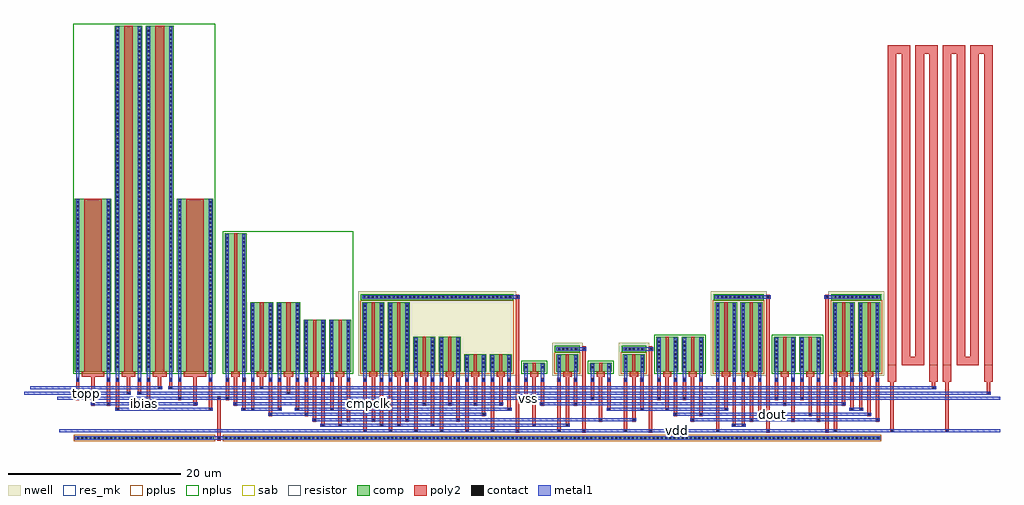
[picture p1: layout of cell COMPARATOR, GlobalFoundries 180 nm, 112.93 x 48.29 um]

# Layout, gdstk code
import gdstk
lib = gdstk.Library(unit=1e-6, precision=1e-09)
def R(c, l, rs):  # rectangles x0, y0, x1, y1
    for r in rs: c.add(gdstk.rectangle(r[:2], r[2:], *l))
def A(c, l, x, y, w, h, nx, ny, dx, dy):  # array of equal rectangles
    R(c, l, [(x+i*dx, y+j*dy, x+i*dx+w, y+j*dy+h) for i in range(nx) for j in range(ny)])
def P(c, l, *ps):  # polygons
    for p in ps: c.add(gdstk.Polygon(p, *l))
nwell = (21, 0)
comp = (22, 0)
poly2 = (30, 0)
pplus = (31, 0)
nplus = (32, 0)
contact = (33, 0)
metal1 = (34, 0)
sab = (49, 0)
resistor = (62, 0)
res_mk = (110, 5)

comparator = lib.new_cell('COMPARATOR')
R(comparator, nwell, [(32.75,-0.5,51.05,9.3), (55.2,-0.5,58.75,3.3), (62.9,-0.5,66.45,3.3), (73.55,-0.5,80.05,9.3), (87.15,-0.5,93.65,9.3)])
A(comparator, comp, 48, 0, 2.55, 2, 3, 1, 7.7, 0)
R(comparator, comp, [(0,-7.9,16.07,-7.5), (17.23,-7.9,93.15,-7.5), (0,0,4.2,20), (4.6,0,7.8,40), (8.2,0,11.4,40), (11.8,0,16,20), (17.3,0,19.85,16), (20.25,0,22.95,8), (23.35,0,26.05,8), (26.45,0,29,6), (29.4,0,31.95,6), (33.25,0,35.8,8), (36.2,0,38.75,8), (39.15,0,41.7,4), (42.1,0,44.65,4), (45.05,0,47.6,2), (51.85,0,54.4,1), (59.55,0,62.1,1), (67.25,0,69.8,4), (70.2,0,72.75,4), (74.05,0,76.6,8), (77,0,79.55,8), (80.85,0,83.4,4), (83.8,0,86.35,4), (87.65,0,90.2,8), (90.6,0,93.15,8), (55.7,2.4,58.25,2.8), (63.4,2.4,65.95,2.8), (33.25,8.4,50.55,8.8), (74.05,8.4,79.55,8.8), (87.65,8.4,93.15,8.8)])
A(comparator, poly2, 33.37, -7.04, 0.4, 5.84, 6, 1, 2.95, 0)
A(comparator, poly2, 64.475, -5.8, 0.4, 4.6, 3, 1, 6.8, 0)
A(comparator, poly2, 40.225, -3.94, 0.4, 2.74, 4, 1, 2.95, 0)
A(comparator, poly2, 51.97, -3.32, 0.4, 2.12, 3, 1, 7.7, 0)
A(comparator, poly2, 34.325, -1.2, 0.4, 0.6, 6, 1, 2.95, 0)
A(comparator, poly2, 52.925, -1.2, 0.4, 0.6, 5, 1, 3.85, 0)
A(comparator, poly2, 34.05, -0.6, 0.95, 0.6, 6, 1, 2.95, 0)
A(comparator, poly2, 52.65, -0.6, 0.95, 0.6, 5, 1, 3.85, 0)
A(comparator, poly2, 49.1, 0, 0.35, 2, 3, 1, 7.7, 0)
R(comparator, poly2, [(16.45,-8,16.85,-2.84), (51,-7.1,51.4,8.9), (58.7,-7.1,59.1,2.9), (66.4,-7.1,66.8,2.9), (80,-7.1,80.4,8.9), (86.8,-7.1,87.2,8.9), (55.82,-7.04,56.22,-1.2), (63.52,-7.04,63.92,-1.2), (74.17,-7.04,74.57,-1.2), (87.77,-7.04,88.17,-1.2), (94.35,-7.04,94.75,-1.2), (100.7,-7.04,101.1,-1.2), (28.48,-6.42,28.88,-1.2), (30.475,-6.42,30.875,-1.2), (35.28,-6.42,35.68,-1.2), (37.275,-6.42,37.675,-1.2), (41.18,-6.42,41.58,-1.2), (52.925,-6.42,53.325,-1.2), (56.775,-6.42,57.175,-1.2), (76.08,-6.42,76.48,-1.2), (77.12,-6.42,77.52,-1.2), (27.525,-5.8,27.925,-1.2), (31.43,-5.8,31.83,-1.2), (34.325,-5.8,34.725,-1.2), (38.23,-5.8,38.63,-1.2), (44.13,-5.8,44.53,-1.2), (60.625,-5.8,61.025,-1.2), (82.88,-5.8,83.28,-1.2), (85.83,-5.8,86.23,-1.2), (92.63,-5.8,93.03,-1.2), (22.43,-5.18,22.83,-1.2), (26.57,-5.18,26.97,-1.2), (47.08,-5.18,47.48,-1.2), (69.28,-5.18,69.68,-1.2), (72.23,-5.18,72.63,-1.2), (79.03,-5.18,79.43,-1.2), (84.875,-5.18,85.275,-1.2), (91.675,-5.18,92.075,-1.2), (4.72,-4.56,5.12,-1.2), (8.32,-4.56,8.72,-1.2), (15.48,-4.56,15.88,-1.2), (19.33,-4.56,19.73,-1.2), (20.37,-4.56,20.77,-1.2), (23.47,-4.56,23.87,-1.2), (25.53,-4.56,25.93,-1.2), (29.52,-4.56,29.92,-1.2), (50.03,-4.56,50.43,-1.2), (61.58,-4.56,61.98,-1.2), (65.43,-4.56,65.83,-1.2), (68.325,-4.56,68.725,-1.2), (75.125,-4.56,75.525,-1.2), (89.68,-4.56,90.08,-1.2), (90.72,-4.56,91.12,-1.2), (1.9,-3.94,2.3,-1.2), (3.68,-3.94,4.08,-1.2), (13.7,-3.94,14.1,-1.2), (18.375,-3.94,18.775,-1.2), (53.88,-3.94,54.28,-1.2), (57.73,-3.94,58.13,-1.2), (81.925,-3.94,82.325,-1.2), (88.725,-3.94,89.125,-1.2), (0.12,-3.32,0.52,-1.2), (11.92,-3.32,12.32,-1.2), (17.42,-3.32,17.82,-1.2), (70.32,-3.32,70.72,-1.2), (80.97,-3.32,81.37,-1.2), (83.92,-3.32,84.32,-1.2), (6,-2.7,6.4,-1.2), (7.28,-2.7,7.68,-1.2), (24.5,-2.7,24.9,-1.2), (105.5,-2.7,105.9,-1.2), (9.6,-2.08,10,-1.2), (10.88,-2.08,11.28,-1.2), (21.4,-2.08,21.8,-1.2), (99.15,-2.08,99.55,-1.2), (0.12,-1.2,0.52,-0.75), (1.9,-1.2,2.3,-0.6), (3.68,-1.2,4.08,-0.75), (4.72,-1.2,5.12,-0.75), (6,-1.2,6.4,-0.6), (7.28,-1.2,7.68,-0.75), (8.32,-1.2,8.72,-0.75), (9.6,-1.2,10,-0.6), (10.88,-1.2,11.28,-0.75), (11.92,-1.2,12.32,-0.75), (13.7,-1.2,14.1,-0.6), (15.48,-1.2,15.88,-0.75), (17.42,-1.2,17.82,-0.75), (18.375,-1.2,18.775,-0.6), (19.33,-1.2,19.73,-0.75), (20.37,-1.2,20.77,-0.75), (21.4,-1.2,21.8,-0.6), (22.43,-1.2,22.83,-0.75), (23.47,-1.2,23.87,-0.75), (24.5,-1.2,24.9,-0.6), (25.53,-1.2,25.93,-0.75), (26.57,-1.2,26.97,-0.75), (27.525,-1.2,27.925,-0.6), (28.48,-1.2,28.88,-0.75), (29.52,-1.2,29.92,-0.75), (30.475,-1.2,30.875,-0.6), (31.43,-1.2,31.83,-0.75), (33.37,-1.2,33.77,-0.75), (35.28,-1.2,35.68,-0.75), (36.32,-1.2,36.72,-0.75), (38.23,-1.2,38.63,-0.75), (39.27,-1.2,39.67,-0.75), (41.18,-1.2,41.58,-0.75), (42.22,-1.2,42.62,-0.75), (44.13,-1.2,44.53,-0.75), (45.17,-1.2,45.57,-0.75), (47.08,-1.2,47.48,-0.75), (48.12,-1.2,48.52,-0.75), (50.03,-1.2,50.43,-0.75), (51.97,-1.2,52.37,-0.75), (53.88,-1.2,54.28,-0.75), (55.82,-1.2,56.22,-0.75), (57.73,-1.2,58.13,-0.75), (59.67,-1.2,60.07,-0.75), (61.58,-1.2,61.98,-0.75), (63.52,-1.2,63.92,-0.75), (65.43,-1.2,65.83,-0.75), (67.37,-1.2,67.77,-0.75), (69.28,-1.2,69.68,-0.75), (70.32,-1.2,70.72,-0.75), (71.275,-1.2,71.675,-0.6), (72.23,-1.2,72.63,-0.75), (74.17,-1.2,74.57,-0.75), (75.125,-1.2,75.525,-0.6), (76.08,-1.2,76.48,-0.75), (77.12,-1.2,77.52,-0.75), (78.075,-1.2,78.475,-0.6), (79.03,-1.2,79.43,-0.75), (80.97,-1.2,81.37,-0.75), (81.925,-1.2,82.325,-0.6), (82.88,-1.2,83.28,-0.75), (83.92,-1.2,84.32,-0.75), (84.875,-1.2,85.275,-0.6), (85.83,-1.2,86.23,-0.75), (87.77,-1.2,88.17,-0.75), (88.725,-1.2,89.125,-0.6), (89.68,-1.2,90.08,-0.75), (90.72,-1.2,91.12,-0.75), (91.675,-1.2,92.075,-0.6), (92.63,-1.2,93.03,-0.75), (94.05,-1.2,95.05,0.7), (98.85,-1.2,99.85,0.7), (100.4,-1.2,101.4,0.7), (105.2,-1.2,106.2,0.7), (0.8,-0.6,3.4,0), (5.4,-0.6,7,0), (9,-0.6,10.6,0), (12.6,-0.6,15.2,0), (18.1,-0.6,19.05,0), (21.05,-0.6,22.15,0), (24.15,-0.6,25.25,0), (27.25,-0.6,28.2,0), (30.2,-0.6,31.15,0), (71,-0.6,71.95,0), (74.85,-0.6,75.8,0), (77.8,-0.6,78.75,0), (81.65,-0.6,82.6,0), (84.6,-0.6,85.55,0), (88.45,-0.6,89.4,0), (91.4,-0.6,92.35,0), (1.1,0,3.1,20), (5.7,0,6.7,40), (9.3,0,10.3,40), (12.9,0,14.9,20), (18.4,0,18.75,16), (21.35,0,21.85,8), (24.45,0,24.95,8), (27.55,0,27.9,6), (30.5,0,30.85,6), (34.35,0,34.7,8), (37.3,0,37.65,8), (40.25,0,40.6,4), (43.2,0,43.55,4), (46.15,0,46.5,2), (52.95,0,53.3,1), (60.65,0,61,1), (68.35,0,68.7,4), (71.3,0,71.65,4), (75.15,0,75.5,8), (78.1,0,78.45,8), (81.95,0,82.3,4), (84.9,0,85.25,4), (88.75,0,89.1,8), (91.7,0,92.05,8)])
P(comparator, poly2, [(94.05,0.7),(94.05,37.75),(96.65,37.75),(96.65,1.7),(97.25,1.7),(97.25,37.75),(99.85,37.75),(99.85,0.7),(98.85,0.7),(98.85,36.75),(98.25,36.75),(98.25,0.7),(95.65,0.7),(95.65,36.75),(95.05,36.75),(95.05,0.7)],
  [(100.4,0.7),(100.4,37.75),(103,37.75),(103,1.7),(103.6,1.7),(103.6,37.75),(106.2,37.75),(106.2,0.7),(105.2,0.7),(105.2,36.75),(104.6,36.75),(104.6,0.7),(102,0.7),(102,36.75),(101.4,36.75),(101.4,0.7)])
R(comparator, pplus, [(-0.16,-8.06,16.23,-7.34), (17.07,-8.06,93.31,-7.34), (33.02,-0.23,50.78,8.23), (55.47,-0.23,58.48,2.23), (63.17,-0.23,66.18,2.23), (73.82,-0.23,79.78,8.23), (87.42,-0.23,93.38,8.23)])
R(comparator, nplus, [(-0.23,-0.23,16.23,40.23), (17.07,-0.23,32.18,16.23), (51.62,-0.23,54.63,1.23), (59.32,-0.23,62.33,1.23), (67.02,-0.23,72.98,4.23), (80.62,-0.23,86.58,4.23), (55.54,2.24,58.41,2.96), (63.24,2.24,66.11,2.96), (33.09,8.24,50.71,8.96), (73.89,8.24,79.71,8.96), (87.49,8.24,93.31,8.96)])
A(comparator, contact, 0.245, -7.81, 0.22, 0.22, 33, 1, 0.48, 0)
A(comparator, contact, 17.4, -7.81, 0.22, 0.22, 158, 1, 0.48, 0)
A(comparator, contact, 33.46, -6.94, 0.22, 0.22, 6, 1, 2.95, 0)
A(comparator, contact, 64.565, -5.7, 0.22, 0.22, 3, 1, 6.8, 0)
A(comparator, contact, 40.315, -3.84, 0.22, 0.22, 4, 1, 2.95, 0)
A(comparator, contact, 52.06, -3.22, 0.22, 0.22, 3, 1, 7.7, 0)
A(comparator, contact, 26.66, 0.25, 0.22, 0.22, 1, 12, 0, 0.48)
A(comparator, contact, 28.57, 0.25, 0.22, 0.22, 1, 12, 0, 0.48)
A(comparator, contact, 29.61, 0.25, 0.22, 0.22, 1, 12, 0, 0.48)
A(comparator, contact, 31.52, 0.25, 0.22, 0.22, 1, 12, 0, 0.48)
A(comparator, contact, 0.21, 0.29, 0.22, 0.22, 1, 41, 0, 0.48)
A(comparator, contact, 3.77, 0.29, 0.22, 0.22, 1, 41, 0, 0.48)
A(comparator, contact, 12.01, 0.29, 0.22, 0.22, 1, 41, 0, 0.48)
A(comparator, contact, 15.57, 0.29, 0.22, 0.22, 1, 41, 0, 0.48)
A(comparator, contact, 20.46, 0.29, 0.22, 0.22, 1, 16, 0, 0.48)
A(comparator, contact, 22.52, 0.29, 0.22, 0.22, 1, 16, 0, 0.48)
A(comparator, contact, 23.56, 0.29, 0.22, 0.22, 1, 16, 0, 0.48)
A(comparator, contact, 25.62, 0.29, 0.22, 0.22, 1, 16, 0, 0.48)
A(comparator, contact, 33.46, 0.29, 0.22, 0.22, 1, 16, 0, 0.48)
A(comparator, contact, 35.37, 0.29, 0.22, 0.22, 1, 16, 0, 0.48)
A(comparator, contact, 36.41, 0.29, 0.22, 0.22, 1, 16, 0, 0.48)
A(comparator, contact, 38.32, 0.29, 0.22, 0.22, 1, 16, 0, 0.48)
A(comparator, contact, 74.26, 0.29, 0.22, 0.22, 1, 16, 0, 0.48)
A(comparator, contact, 76.17, 0.29, 0.22, 0.22, 1, 16, 0, 0.48)
A(comparator, contact, 77.21, 0.29, 0.22, 0.22, 1, 16, 0, 0.48)
A(comparator, contact, 79.12, 0.29, 0.22, 0.22, 1, 16, 0, 0.48)
A(comparator, contact, 87.86, 0.29, 0.22, 0.22, 1, 16, 0, 0.48)
A(comparator, contact, 89.77, 0.29, 0.22, 0.22, 1, 16, 0, 0.48)
A(comparator, contact, 90.81, 0.29, 0.22, 0.22, 1, 16, 0, 0.48)
A(comparator, contact, 92.72, 0.29, 0.22, 0.22, 1, 16, 0, 0.48)
A(comparator, contact, 45.26, 0.41, 0.22, 0.22, 1, 3, 0, 0.48)
A(comparator, contact, 47.17, 0.41, 0.22, 0.22, 1, 3, 0, 0.48)
A(comparator, contact, 48.21, 0.41, 0.22, 0.22, 1, 3, 0, 0.48)
A(comparator, contact, 50.12, 0.41, 0.22, 0.22, 1, 3, 0, 0.48)
A(comparator, contact, 55.91, 0.41, 0.22, 0.22, 1, 3, 0, 0.48)
A(comparator, contact, 57.82, 0.41, 0.22, 0.22, 1, 3, 0, 0.48)
A(comparator, contact, 63.61, 0.41, 0.22, 0.22, 1, 3, 0, 0.48)
A(comparator, contact, 65.52, 0.41, 0.22, 0.22, 1, 3, 0, 0.48)
A(comparator, contact, 4.81, 0.45, 0.22, 0.22, 1, 82, 0, 0.48)
A(comparator, contact, 7.37, 0.45, 0.22, 0.22, 1, 82, 0, 0.48)
A(comparator, contact, 8.41, 0.45, 0.22, 0.22, 1, 82, 0, 0.48)
A(comparator, contact, 10.97, 0.45, 0.22, 0.22, 1, 82, 0, 0.48)
A(comparator, contact, 17.51, 0.45, 0.22, 0.22, 1, 32, 0, 0.48)
A(comparator, contact, 19.42, 0.45, 0.22, 0.22, 1, 32, 0, 0.48)
A(comparator, contact, 39.36, 0.45, 0.22, 0.22, 1, 7, 0, 0.48)
A(comparator, contact, 41.27, 0.45, 0.22, 0.22, 1, 7, 0, 0.48)
A(comparator, contact, 42.31, 0.45, 0.22, 0.22, 1, 7, 0, 0.48)
A(comparator, contact, 44.22, 0.45, 0.22, 0.22, 1, 7, 0, 0.48)
A(comparator, contact, 67.46, 0.45, 0.22, 0.22, 1, 7, 0, 0.48)
A(comparator, contact, 69.37, 0.45, 0.22, 0.22, 1, 7, 0, 0.48)
A(comparator, contact, 70.41, 0.45, 0.22, 0.22, 1, 7, 0, 0.48)
A(comparator, contact, 72.32, 0.45, 0.22, 0.22, 1, 7, 0, 0.48)
A(comparator, contact, 81.06, 0.45, 0.22, 0.22, 1, 7, 0, 0.48)
A(comparator, contact, 82.97, 0.45, 0.22, 0.22, 1, 7, 0, 0.48)
A(comparator, contact, 84.01, 0.45, 0.22, 0.22, 1, 7, 0, 0.48)
A(comparator, contact, 85.92, 0.45, 0.22, 0.22, 1, 7, 0, 0.48)
A(comparator, contact, 55.905, 2.49, 0.22, 0.22, 5, 1, 0.48, 0)
A(comparator, contact, 63.605, 2.49, 0.22, 0.22, 5, 1, 0.48, 0)
A(comparator, contact, 33.39, 8.49, 0.22, 0.22, 36, 1, 0.48, 0)
A(comparator, contact, 74.29, 8.49, 0.22, 0.22, 11, 1, 0.48, 0)
A(comparator, contact, 87.89, 8.49, 0.22, 0.22, 11, 1, 0.48, 0)
R(comparator, contact, [(16.54,-7.81,16.76,-7.59), (51.09,-6.94,51.31,-6.72), (55.91,-6.94,56.13,-6.72), (58.79,-6.94,59.01,-6.72), (63.61,-6.94,63.83,-6.72), (66.49,-6.94,66.71,-6.72), (74.26,-6.94,74.48,-6.72), (80.09,-6.94,80.31,-6.72), (86.89,-6.94,87.11,-6.72), (87.86,-6.94,88.08,-6.72), (94.44,-6.94,94.66,-6.72), (100.79,-6.94,101.01,-6.72), (28.57,-6.32,28.79,-6.1), (30.565,-6.32,30.785,-6.1), (35.37,-6.32,35.59,-6.1), (37.365,-6.32,37.585,-6.1), (41.27,-6.32,41.49,-6.1), (53.015,-6.32,53.235,-6.1), (56.865,-6.32,57.085,-6.1), (76.17,-6.32,76.39,-6.1), (77.21,-6.32,77.43,-6.1), (27.615,-5.7,27.835,-5.48), (31.52,-5.7,31.74,-5.48), (34.415,-5.7,34.635,-5.48), (38.32,-5.7,38.54,-5.48), (44.22,-5.7,44.44,-5.48), (60.715,-5.7,60.935,-5.48), (82.97,-5.7,83.19,-5.48), (85.92,-5.7,86.14,-5.48), (92.72,-5.7,92.94,-5.48), (22.52,-5.08,22.74,-4.86), (26.66,-5.08,26.88,-4.86), (47.17,-5.08,47.39,-4.86), (69.37,-5.08,69.59,-4.86), (72.32,-5.08,72.54,-4.86), (79.12,-5.08,79.34,-4.86), (84.965,-5.08,85.185,-4.86), (91.765,-5.08,91.985,-4.86), (4.81,-4.46,5.03,-4.24), (8.41,-4.46,8.63,-4.24), (15.57,-4.46,15.79,-4.24), (19.42,-4.46,19.64,-4.24), (20.46,-4.46,20.68,-4.24), (23.56,-4.46,23.78,-4.24), (25.62,-4.46,25.84,-4.24), (29.61,-4.46,29.83,-4.24), (50.12,-4.46,50.34,-4.24), (61.67,-4.46,61.89,-4.24), (65.52,-4.46,65.74,-4.24), (68.415,-4.46,68.635,-4.24), (75.215,-4.46,75.435,-4.24), (89.77,-4.46,89.99,-4.24), (90.81,-4.46,91.03,-4.24), (1.99,-3.84,2.21,-3.62), (3.77,-3.84,3.99,-3.62), (13.79,-3.84,14.01,-3.62), (18.465,-3.84,18.685,-3.62), (53.97,-3.84,54.19,-3.62), (57.82,-3.84,58.04,-3.62), (82.015,-3.84,82.235,-3.62), (88.815,-3.84,89.035,-3.62), (0.21,-3.22,0.43,-3), (12.01,-3.22,12.23,-3), (16.54,-3.22,16.76,-3), (17.51,-3.22,17.73,-3), (70.41,-3.22,70.63,-3), (81.06,-3.22,81.28,-3), (84.01,-3.22,84.23,-3), (6.09,-2.6,6.31,-2.38), (7.37,-2.6,7.59,-2.38), (24.59,-2.6,24.81,-2.38), (105.59,-2.6,105.81,-2.38), (9.69,-1.98,9.91,-1.76), (10.97,-1.98,11.19,-1.76), (21.49,-1.98,21.71,-1.76), (99.24,-1.98,99.46,-1.76), (0.21,-1.08,0.43,-0.86), (3.77,-1.08,3.99,-0.86), (4.81,-1.08,5.03,-0.86), (7.37,-1.08,7.59,-0.86), (8.41,-1.08,8.63,-0.86), (10.97,-1.08,11.19,-0.86), (12.01,-1.08,12.23,-0.86), (15.57,-1.08,15.79,-0.86), (17.51,-1.08,17.73,-0.86), (19.42,-1.08,19.64,-0.86), (20.46,-1.08,20.68,-0.86), (22.52,-1.08,22.74,-0.86), (23.56,-1.08,23.78,-0.86), (25.62,-1.08,25.84,-0.86), (26.66,-1.08,26.88,-0.86), (28.57,-1.08,28.79,-0.86), (29.61,-1.08,29.83,-0.86), (31.52,-1.08,31.74,-0.86), (33.46,-1.08,33.68,-0.86), (35.37,-1.08,35.59,-0.86), (36.41,-1.08,36.63,-0.86), (38.32,-1.08,38.54,-0.86), (39.36,-1.08,39.58,-0.86), (41.27,-1.08,41.49,-0.86), (42.31,-1.08,42.53,-0.86), (44.22,-1.08,44.44,-0.86), (45.26,-1.08,45.48,-0.86), (47.17,-1.08,47.39,-0.86), (48.21,-1.08,48.43,-0.86), (50.12,-1.08,50.34,-0.86), (52.06,-1.08,52.28,-0.86), (53.97,-1.08,54.19,-0.86), (55.91,-1.08,56.13,-0.86), (57.82,-1.08,58.04,-0.86), (59.76,-1.08,59.98,-0.86), (61.67,-1.08,61.89,-0.86), (63.61,-1.08,63.83,-0.86), (65.52,-1.08,65.74,-0.86), (67.46,-1.08,67.68,-0.86), (69.37,-1.08,69.59,-0.86), (70.41,-1.08,70.63,-0.86), (72.32,-1.08,72.54,-0.86), (74.26,-1.08,74.48,-0.86), (76.17,-1.08,76.39,-0.86), (77.21,-1.08,77.43,-0.86), (79.12,-1.08,79.34,-0.86), (81.06,-1.08,81.28,-0.86), (82.97,-1.08,83.19,-0.86), (84.01,-1.08,84.23,-0.86), (85.92,-1.08,86.14,-0.86), (87.86,-1.08,88.08,-0.86), (89.77,-1.08,89.99,-0.86), (90.81,-1.08,91.03,-0.86), (92.72,-1.08,92.94,-0.86), (52.06,0.39,52.28,0.61), (53.97,0.39,54.19,0.61), (59.76,0.39,59.98,0.61), (61.67,0.39,61.89,0.61), (58.79,2.49,59.01,2.71), (66.49,2.49,66.71,2.71), (51.09,8.49,51.31,8.71), (80.09,8.49,80.31,8.71), (86.89,8.49,87.11,8.71)])
R(comparator, metal1, [(0,-7.9,93.15,-7.5), (-1.8,-7,107.03,-6.66), (32.32,-7,107.03,-6.66), (28.4,-6.38,57.255,-6.04), (76,-6.38,77.6,-6.04), (27.445,-5.76,64.955,-5.42), (71.195,-5.76,93.11,-5.42), (22.35,-5.14,47.56,-4.8), (69.2,-5.14,92.155,-4.8), (4.64,-4.52,15.96,-4.18), (19.25,-4.52,23.95,-4.18), (25.45,-4.52,50.51,-4.18), (61.5,-4.52,75.605,-4.18), (89.6,-4.52,91.2,-4.18), (1.82,-3.9,14.18,-3.56), (18.295,-3.9,49.555,-3.56), (53.8,-3.9,89.205,-3.56), (-2.03,-3.28,107.03,-2.94), (-2.03,-3.28,107.03,-2.94), (-5.9,-2.66,6.48,-2.32), (-3.78,-2.66,6.48,-2.32), (7.2,-2.66,105.98,-2.32), (-5.2,-2.04,10.08,-1.7), (-3.78,-2.04,10.08,-1.7), (10.8,-2.04,99.63,-1.7), (0.13,-1.2,0.51,0.09), (3.69,-1.2,4.07,0.09), (4.73,-1.2,5.11,0.09), (7.29,-1.2,7.67,0.09), (8.33,-1.2,8.71,0.09), (10.89,-1.2,11.27,0.09), (11.93,-1.2,12.31,0.09), (15.49,-1.2,15.87,0.09), (17.43,-1.2,17.81,0.09), (19.34,-1.2,19.72,0.09), (20.38,-1.2,20.76,0.09), (22.44,-1.2,22.82,0.09), (23.48,-1.2,23.86,0.09), (25.54,-1.2,25.92,0.09), (26.58,-1.2,26.96,0.09), (28.49,-1.2,28.87,0.09), (29.53,-1.2,29.91,0.09), (31.44,-1.2,31.82,0.09), (33.38,-1.2,33.76,0.09), (35.29,-1.2,35.67,0.09), (36.33,-1.2,36.71,0.09), (38.24,-1.2,38.62,0.09), (39.28,-1.2,39.66,0.09), (41.19,-1.2,41.57,0.09), (42.23,-1.2,42.61,0.09), (44.14,-1.2,44.52,0.09), (45.18,-1.2,45.56,0.09), (47.09,-1.2,47.47,0.09), (48.13,-1.2,48.51,0.09), (50.04,-1.2,50.42,0.09), (51.98,-1.2,52.36,0.09), (53.89,-1.2,54.27,0.09), (55.83,-1.2,56.21,0.09), (57.74,-1.2,58.12,0.09), (59.68,-1.2,60.06,0.09), (61.59,-1.2,61.97,0.09), (63.53,-1.2,63.91,0.09), (65.44,-1.2,65.82,0.09), (67.38,-1.2,67.76,0.09), (69.29,-1.2,69.67,0.09), (70.33,-1.2,70.71,0.09), (72.24,-1.2,72.62,0.09), (74.18,-1.2,74.56,0.09), (76.09,-1.2,76.47,0.09), (77.13,-1.2,77.51,0.09), (79.04,-1.2,79.42,0.09), (80.98,-1.2,81.36,0.09), (82.89,-1.2,83.27,0.09), (83.93,-1.2,84.31,0.09), (85.84,-1.2,86.22,0.09), (87.78,-1.2,88.16,0.09), (89.69,-1.2,90.07,0.09), (90.73,-1.2,91.11,0.09), (92.64,-1.2,93.02,0.09), (0.13,0.09,0.51,19.91), (3.69,0.09,4.07,19.91), (4.73,0.09,5.11,39.91), (7.29,0.09,7.67,39.91), (8.33,0.09,8.71,39.91), (10.89,0.09,11.27,39.91), (11.93,0.09,12.31,19.91), (15.49,0.09,15.87,19.91), (17.43,0.09,17.81,15.91), (19.34,0.09,19.72,15.91), (20.38,0.09,20.76,7.91), (22.44,0.09,22.82,7.91), (23.48,0.09,23.86,7.91), (25.54,0.09,25.92,7.91), (26.58,0.09,26.96,5.91), (28.49,0.09,28.87,5.91), (29.53,0.09,29.91,5.91), (31.44,0.09,31.82,5.91), (33.38,0.09,33.76,7.91), (35.29,0.09,35.67,7.91), (36.33,0.09,36.71,7.91), (38.24,0.09,38.62,7.91), (39.28,0.09,39.66,3.91), (41.19,0.09,41.57,3.91), (42.23,0.09,42.61,3.91), (44.14,0.09,44.52,3.91), (45.18,0.09,45.56,1.91), (47.09,0.09,47.47,1.91), (48.13,0.09,48.51,1.91), (50.04,0.09,50.42,1.91), (51.98,0.09,52.36,0.91), (53.89,0.09,54.27,0.91), (55.83,0.09,56.21,1.91), (57.74,0.09,58.12,1.91), (59.68,0.09,60.06,0.91), (61.59,0.09,61.97,0.91), (63.53,0.09,63.91,1.91), (65.44,0.09,65.82,1.91), (67.38,0.09,67.76,3.91), (69.29,0.09,69.67,3.91), (70.33,0.09,70.71,3.91), (72.24,0.09,72.62,3.91), (74.18,0.09,74.56,7.91), (76.09,0.09,76.47,7.91), (77.13,0.09,77.51,7.91), (79.04,0.09,79.42,7.91), (80.98,0.09,81.36,3.91), (82.89,0.09,83.27,3.91), (83.93,0.09,84.31,3.91), (85.84,0.09,86.22,3.91), (87.78,0.09,88.16,7.91), (89.69,0.09,90.07,7.91), (90.73,0.09,91.11,7.91), (92.64,0.09,93.02,7.91), (55.7,2.4,58.25,2.8), (55.7,2.4,59.18,2.8), (63.4,2.4,65.95,2.8), (63.4,2.4,66.88,2.8), (33.25,8.4,51.48,8.8), (33.25,8.4,50.55,8.8), (74.05,8.4,79.55,8.8), (74.05,8.4,80.48,8.8), (86.72,8.4,93.15,8.8), (87.65,8.4,93.15,8.8)])
P(comparator, sab, [(94.05,0.7),(94.05,37.75),(96.65,37.75),(96.65,1.7),(97.25,1.7),(97.25,37.75),(99.85,37.75),(99.85,0.7),(98.85,0.7),(98.85,36.75),(98.25,36.75),(98.25,0.7),(95.65,0.7),(95.65,36.75),(95.05,36.75),(95.05,0.7)],
  [(100.4,0.7),(100.4,37.75),(103,37.75),(103,1.7),(103.6,1.7),(103.6,37.75),(106.2,37.75),(106.2,0.7),(105.2,0.7),(105.2,36.75),(104.6,36.75),(104.6,0.7),(102,0.7),(102,36.75),(101.4,36.75),(101.4,0.7)])
P(comparator, resistor, [(94.05,0.7),(94.05,37.75),(96.65,37.75),(96.65,1.7),(97.25,1.7),(97.25,37.75),(99.85,37.75),(99.85,0.7),(98.85,0.7),(98.85,36.75),(98.25,36.75),(98.25,0.7),(95.65,0.7),(95.65,36.75),(95.05,36.75),(95.05,0.7)],
  [(100.4,0.7),(100.4,37.75),(103,37.75),(103,1.7),(103.6,1.7),(103.6,37.75),(106.2,37.75),(106.2,0.7),(105.2,0.7),(105.2,36.75),(104.6,36.75),(104.6,0.7),(102,0.7),(102,36.75),(101.4,36.75),(101.4,0.7)])
P(comparator, res_mk, [(94.05,0.7),(94.05,37.75),(96.65,37.75),(96.65,1.7),(97.25,1.7),(97.25,37.75),(99.85,37.75),(99.85,0.7),(98.85,0.7),(98.85,36.75),(98.25,36.75),(98.25,0.7),(95.65,0.7),(95.65,36.75),(95.05,36.75),(95.05,0.7)],
  [(100.4,0.7),(100.4,37.75),(103,37.75),(103,1.7),(103.6,1.7),(103.6,37.75),(106.2,37.75),(106.2,0.7),(105.2,0.7),(105.2,36.75),(104.6,36.75),(104.6,0.7),(102,0.7),(102,36.75),(101.4,36.75),(101.4,0.7)])
comparator.add(gdstk.Label('vss', (52.5,-3.11), layer=34, texttype=10))
comparator.add(gdstk.Label('ibias', (8,-3.73), layer=34, texttype=10))
comparator.add(gdstk.Label('topp', (1.35,-2.49), layer=34, texttype=10))
comparator.add(gdstk.Label('XCMP.pon', (56.59,-2.49), layer=34, texttype=10))
comparator.add(gdstk.Label('topn', (3.15,-1.87), layer=34, texttype=10))
comparator.add(gdstk.Label('XCMP.pop', (55.215,-1.87), layer=34, texttype=10))
comparator.add(gdstk.Label('cmpclk', (33.925,-3.73), layer=34, texttype=10))
comparator.add(gdstk.Label('vdd', (69.675,-6.83), layer=34, texttype=10))
comparator.add(gdstk.Label('dout', (80.677,-4.97), layer=34, texttype=10))
comparator.add(gdstk.Label('doutb', (82.152,-5.59), layer=34, texttype=10))

lib.write_gds('COMPARATOR.gds')
